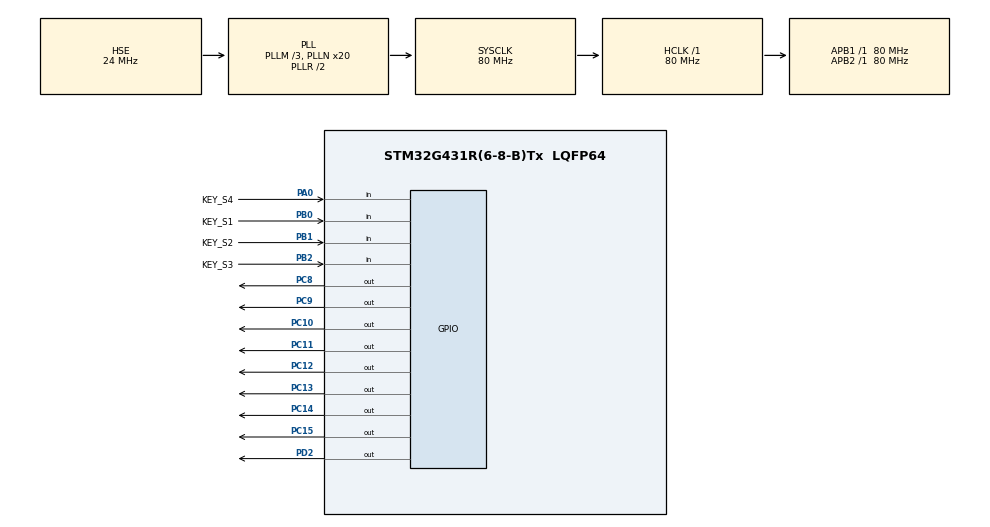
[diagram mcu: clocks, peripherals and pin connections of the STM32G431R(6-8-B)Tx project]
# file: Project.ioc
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Mcu.Family=STM32G4
Mcu.Name=STM32G431R(6-8-B)Tx
Mcu.Package=LQFP64
NVIC.PriorityGroup=NVIC_PRIORITYGROUP_4
NVIC.TIM1_TRG_COM_TIM17_IRQn=true\:1\:0\:true\:false\:true\:true\:true\:true
PA0.GPIO_Label=KEY_S4
PA0.Signal=GPIO_Input
PA13.Mode=Serial_Wire
PA13.Signal=SYS_JTMS-SWDIO
PA14.Mode=Serial_Wire
PA14.Signal=SYS_JTCK-SWCLK
PB0.GPIO_Label=KEY_S1
PB0.Signal=GPIO_Input
PB1.GPIO_Label=KEY_S2
PB1.Signal=GPIO_Input
PB2.GPIO_Label=KEY_S3
PB2.Signal=GPIO_Input
PC10.Signal=GPIO_Output
PC11.Signal=GPIO_Output
PC12.Signal=GPIO_Output
PC13.Signal=GPIO_Output
PC14-OSC32_IN.Signal=GPIO_Output
PC15-OSC32_OUT.Signal=GPIO_Output
PC8.Signal=GPIO_Output
PC9.Signal=GPIO_Output
PD2.Signal=GPIO_Output
PF0-OSC_IN.Mode=HSE-External-Oscillator
PF0-OSC_IN.Signal=RCC_OSC_IN
PF1-OSC_OUT.Mode=HSE-External-Oscillator
PF1-OSC_OUT.Signal=RCC_OSC_OUT
ProjectManager.HeapSize=0x0
ProjectManager.StackSize=0x1000
ProjectManager.TargetToolchain=MDK-ARM V5.32
RCC.ADC12Freq_Value=80000000
RCC.AHBFreq_Value=80000000
RCC.APB1Freq_Value=80000000
RCC.APB1TimFreq_Value=80000000
RCC.APB2Freq_Value=80000000
RCC.APB2TimFreq_Value=80000000
RCC.CortexFreq_Value=80000000
RCC.EXTERNAL_CLOCK_VALUE=12288000
RCC.HCLKFreq_Value=80000000
RCC.HSE_VALUE=24000000
RCC.HSI48_VALUE=48000000
RCC.HSI_VALUE=16000000
RCC.LSE_VALUE=32768
RCC.PLLM=RCC_PLLM_DIV3
RCC.PLLN=20
RCC.PLLSourceVirtual=RCC_PLLSOURCE_HSE
RCC.SYSCLKFreq_VALUE=80000000
RCC.SYSCLKSource=RCC_SYSCLKSOURCE_PLLCLK
RCC.USBFreq_Value=80000000
RCC.VCOOutputFreq_Value=160000000
TIM17.PeriodNoDither=9999
TIM17.Prescaler=79
VP_SYS_VS_DBSignals.Mode=DisableDeadBatterySignals
VP_TIM17_VS_ClockSourceINT.Mode=Enable_Timer
board=custom

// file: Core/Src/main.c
/* USER CODE BEGIN Header */
/**
  ******************************************************************************
  * @file           : main.c
  * @brief          : Main program body
  ******************************************************************************
  * @attention
  *
  * Copyright (c) 2025 STMicroelectronics.
  * All rights reserved.
  *
  * This software is licensed under terms that can be found in the LICENSE file
  * in the root directory of this software component.
  * If no LICENSE file comes with this software, it is provided AS-IS.
  *
  ******************************************************************************
  */
/* USER CODE END Header */
#include "main.h"
#include "tim.h"
#include "gpio.h"

/* USER CODE BEGIN Includes */
#include "lcd.h"

/* USER CODE END Includes */

void SystemClock_Config(void);
/* USER CODE BEGIN PFP */
void LCD_ShowString(uint8_t Line, const char *format, ...);
void Key_Process(uint8_t keyNum);

/* USER CODE END PFP */

/* USER CODE BEGIN 0 */
void HAL_TIM_PeriodElapsedCallback(TIM_HandleTypeDef *htim)
{
	if (htim == &htim17)
	{
		Key_Process(Key_Read());
	}
}

/* USER CODE END 0 */

int main(void)
{

  /* MCU Configuration--------------------------------------------------------*/

  /* Reset of all peripherals, Initializes the Flash interface and the Systick. */
  HAL_Init();

  /* Configure the system clock */
  SystemClock_Config();

  /* Initialize all configured peripherals */
  MX_GPIO_Init();
  MX_TIM17_Init();
  /* USER CODE BEGIN 2 */
  LED_WR(0x00);
  LCD_Init();
  LCD_Clear(Black);
  LCD_SetBackColor(Black);
  LCD_SetTextColor(White);
  LCD_ShowString(Line2, "      KEY TEST      ");
  LCD_ShowString(Line4, "     CNT: 0         ");
  LCD_ShowString(Line5, "     KEY: NONE      ");
  LCD_ShowString(Line6, "    TYPE: NONE      ");

  HAL_TIM_Base_Start_IT(&htim17);

  /* USER CODE END 2 */

  /* Infinite loop */
  while (1)
  {

  }
}

void SystemClock_Config(void)
{
  RCC_OscInitTypeDef RCC_OscInitStruct = {0};
  RCC_ClkInitTypeDef RCC_ClkInitStruct = {0};

  /** Configure the main internal regulator output voltage
  */
  HAL_PWREx_ControlVoltageScaling(PWR_REGULATOR_VOLTAGE_SCALE1);

  /** Initializes the RCC Oscillators according to the specified parameters
  * in the RCC_OscInitTypeDef structure.
  */
  RCC_OscInitStruct.OscillatorType = RCC_OSCILLATORTYPE_HSE;
  RCC_OscInitStruct.HSEState = RCC_HSE_ON;
  RCC_OscInitStruct.PLL.PLLState = RCC_PLL_ON;
  RCC_OscInitStruct.PLL.PLLSource = RCC_PLLSOURCE_HSE;
  RCC_OscInitStruct.PLL.PLLM = RCC_PLLM_DIV3;
  RCC_OscInitStruct.PLL.PLLN = 20;
  RCC_OscInitStruct.PLL.PLLP = RCC_PLLP_DIV2;
  RCC_OscInitStruct.PLL.PLLQ = RCC_PLLQ_DIV2;
  RCC_OscInitStruct.PLL.PLLR = RCC_PLLR_DIV2;
  if (HAL_RCC_OscConfig(&RCC_OscInitStruct) != HAL_OK)
  {
    Error_Handler();
  }

  /** Initializes the CPU, AHB and APB buses clocks
  */
  RCC_ClkInitStruct.ClockType = RCC_CLOCKTYPE_HCLK|RCC_CLOCKTYPE_SYSCLK
                              |RCC_CLOCKTYPE_PCLK1|RCC_CLOCKTYPE_PCLK2;
  RCC_ClkInitStruct.SYSCLKSource = RCC_SYSCLKSOURCE_PLLCLK;
  RCC_ClkInitStruct.AHBCLKDivider = RCC_SYSCLK_DIV1;
  RCC_ClkInitStruct.APB1CLKDivider = RCC_HCLK_DIV1;
  RCC_ClkInitStruct.APB2CLKDivider = RCC_HCLK_DIV1;

  if (HAL_RCC_ClockConfig(&RCC_ClkInitStruct, FLASH_LATENCY_2) != HAL_OK)
  {
    Error_Handler();
  }
}

/* USER CODE BEGIN 4 */
void LCD_ShowString(uint8_t Line, const char *format, ...)
{
	char str[21];
	va_list ap;
	va_start(ap, format);
	int xnum = vsnprintf(str, 21, format, ap);
	va_end(ap);
	while (xnum < 20) str[xnum++] = 32;
	LCD_DisplayStringLine(Line, (uint8_t *)str);
}

void Key_Process(uint8_t keyNum)
{
	static uint16_t cnt = 0;
	if (keyNum == 0x00) return;

	LCD_ShowString(Line4, "     CNT: %d", ++cnt);

	switch (keyNum & 0x0F)
	{
		case 0x01: LCD_ShowString(Line5, "     KEY: S1        "); break;
		case 0x02: LCD_ShowString(Line5, "     KEY: S2        "); break;
		case 0x03: LCD_ShowString(Line5, "     KEY: S3        "); break;
		case 0x04: LCD_ShowString(Line5, "     KEY: S4        "); break;
		default: break;
	}

	switch (keyNum & 0xF0)
	{
		case 0x00: LCD_ShowString(Line6, "    TYPE: TAP       "); break;
		case 0x80: LCD_ShowString(Line6, "    TYPE: HOLD      "); break;
		case 0x40: LCD_ShowString(Line6, "    TYPE: DOUBLE    "); break;
		default: break;
	}
}

/* USER CODE END 4 */

void Error_Handler(void)
{
  __disable_irq();
  while (1)
  {
  }
}
